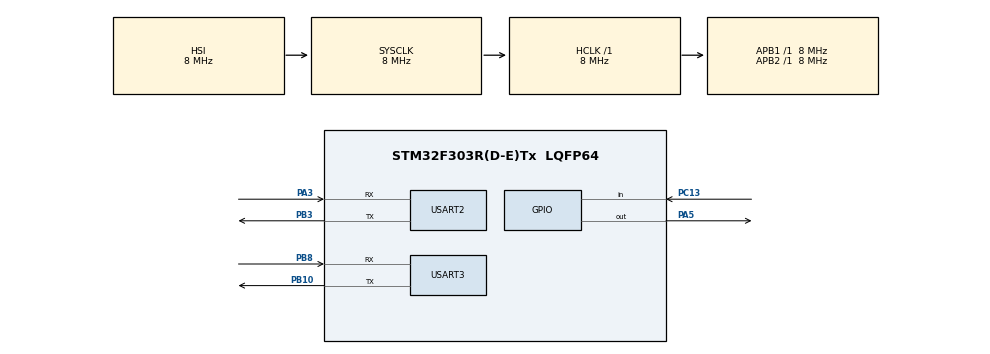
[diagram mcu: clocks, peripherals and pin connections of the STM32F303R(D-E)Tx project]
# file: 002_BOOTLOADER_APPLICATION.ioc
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Mcu.Family=STM32F3
Mcu.Name=STM32F303R(D-E)Tx
Mcu.Package=LQFP64
NVIC.PriorityGroup=NVIC_PRIORITYGROUP_4
PA3.Mode=Asynchronous
PA3.Signal=USART2_RX
PA5.Signal=GPIO_Output
PB10.Mode=Asynchronous
PB10.Signal=USART3_TX
PB3.Mode=Asynchronous
PB3.Signal=USART2_TX
PB8.Mode=Asynchronous
PB8.Signal=USART3_RX
PC13.Signal=GPIO_Input
ProjectManager.HeapSize=0x200
ProjectManager.StackSize=0x400
ProjectManager.TargetToolchain=STM32CubeIDE
RCC.AHBFreq_Value=8000000
RCC.APB1Freq_Value=8000000
RCC.APB2Freq_Value=8000000
RCC.CortexFreq_Value=8000000
RCC.HSE_VALUE=8000000
RCC.HSI_VALUE=8000000
RCC.LSE_VALUE=32768
RCC.SYSCLKFreq_VALUE=8000000
RCC.USBFreq_Value=16000000
USART2.VirtualMode-Asynchronous=VM_ASYNC
USART3.VirtualMode-Asynchronous=VM_ASYNC
VP_CRC_VS_CRC.Mode=CRC_Activate
board=custom

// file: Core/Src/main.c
/* USER CODE BEGIN Header */
/**
  ******************************************************************************
  * @file           : main.c
  * @brief          : Main program body
  ******************************************************************************
  * @attention
  *
  * Copyright (c) 2025 STMicroelectronics.
  * All rights reserved.
  *
  * This software is licensed under terms that can be found in the LICENSE file
  * in the root directory of this software component.
  * If no LICENSE file comes with this software, it is provided AS-IS.
  *
  ******************************************************************************
  */
/* USER CODE END Header */
#include "main.h"

/* USER CODE BEGIN Includes */

#include "stdarg.h"
#include "stdio.h"
#include "string.h"
#include "bootloader_command.h"
#include "bootloader_command_app.h"

/* USER CODE END Includes */

/* USER CODE BEGIN PD */

#define FLASH_SECTOR_2_BASE_ADDRESS 0x08008000
#define BL_RX_DATA_LENGTH			100

/* USER CODE END PD */

CRC_HandleTypeDef hcrc;

UART_HandleTypeDef huart2;
UART_HandleTypeDef huart3;

/* USER CODE BEGIN PV */

uint8_t bootloader_rx_data[BL_RX_DATA_LENGTH];

/* USER CODE END PV */

void SystemClock_Config(void);
static void MX_GPIO_Init(void);
static void MX_USART2_UART_Init(void);
static void MX_CRC_Init(void);
static void MX_USART3_UART_Init(void);

/* USER CODE BEGIN 0 */

void print_message(char* format, ...){

	char coming_message[100];

	va_list va_list;
	va_start(va_list, format);
	vsprintf(coming_message, format, va_list);
	HAL_UART_Transmit(&huart2, (uint8_t*)coming_message, strlen(coming_message), HAL_MAX_DELAY);
	va_end(va_list);
}

void bootloader_uart_read_data(void)
{
    // Fonksiyona girildiğinde mesaj gönder
    char* giris_mesaji = "BLi\r\n";
    HAL_UART_Transmit(&huart3, (uint8_t*)giris_mesaji, strlen(giris_mesaji), HAL_MAX_DELAY);

    uint8_t bl_rx_length = 0;

    while (1)
    {
        // 1. RX buffer'ı temizle
        memset(bootloader_rx_data, 0, BL_RX_DATA_LENGTH);

        // 2. İlk byte'ı al (veri uzunluğu)
        HAL_UART_Receive(&huart3, bootloader_rx_data, 1, HAL_MAX_DELAY);

        // 3. Alınan ilk byte'ı geri gönder (echo)
        //HAL_UART_Transmit(&huart3, bootloader_rx_data, 1, HAL_MAX_DELAY);

        // 4. İlk byte'ı uzunluk olarak kullan
        bl_rx_length = bootloader_rx_data[0];

        // 5. bl_rx_length kadar veri al
        HAL_UART_Receive(&huart3, &bootloader_rx_data[1], bl_rx_length, HAL_MAX_DELAY);

        switch (bootloader_rx_data[1])
        {
            case BL_GET_VER:
                for (int i = 0; i < bl_rx_length + 1; i++) {
                    //HAL_UART_Transmit(&huart3, &bootloader_rx_data[i], 1, HAL_MAX_DELAY);
                }

                bootloader_get_version_cmd(bootloader_rx_data);
                break;

            case BL_GET_HELP:
                bootloader_get_help_cmd(bootloader_rx_data);
                break;

            default:
            {
                char* unknown_cmd = "Bilinmeyen komut!\r\n";
                HAL_UART_Transmit(&huart3, (uint8_t*)unknown_cmd, strlen(unknown_cmd), HAL_MAX_DELAY);
                break;
            }
        }
    }
}

void bootloader_jump_to_user_application() {

	//1- reset handlerin adresini tutan bir metot işaretçisi
	void (*bootloader_application_reset_handler) (void);
	//2- kullanıcı uygulamasına atlandığını ilet
	print_message("BL DEBUG MSG: bootloader_jump_to_user_application called\n");
	//3- MSP'nin değerini tut
	uint32_t MSP_value = *(volatile uint32_t*) FLASH_SECTOR_2_BASE_ADDRESS;
	uint32_t reset_value = *(volatile uint32_t*) (FLASH_SECTOR_2_BASE_ADDRESS + 4);
	bootloader_application_reset_handler = (void *) reset_value;
	print_message("BL DEBUG MODE: MSP value: %#x\n", MSP_value);
	//setmsp den sonra bir metot vb olursa işlevini yerine getiremeyebilir
	__set_MSP(MSP_value);
	bootloader_application_reset_handler();

	/*void (*bootloader_application_reset_handler) (void);
	uint32_t reset_value = *(volatile uint32_t*) (FLASH_SECTOR_2_BASE_ADDRESS + 4);
	uint32_t MSP_value = *(volatile uint32_t*) FLASH_SECTOR_2_BASE_ADDRESS;
	bootloader_application_reset_handler = (void *) reset_value;
	print_message("BL DEBUG MODE: reset value: %#x\n", reset_value);
	bootloader_application_reset_handler();*/

}

/* USER CODE END 0 */

int main(void)
{

  /* MCU Configuration--------------------------------------------------------*/

  /* Reset of all peripherals, Initializes the Flash interface and the Systick. */
  HAL_Init();

  /* Configure the system clock */
  SystemClock_Config();

  /* Initialize all configured peripherals */
  MX_GPIO_Init();
  MX_USART2_UART_Init();
  MX_CRC_Init();
  MX_USART3_UART_Init();
  /* USER CODE BEGIN 2 */

  if(HAL_GPIO_ReadPin(GPIOC, GPIO_PIN_13) != GPIO_PIN_SET){

	  print_message("BL DEBUG MODE: Button is pressed go to BL mode\n");
	  HAL_GPIO_WritePin(GPIOA, GPIO_PIN_5, GPIO_PIN_SET);
	  bootloader_uart_read_data();

  }
  else {

	  print_message("BL DEBUG MODE: Button is not pressed executing user application\n");

	  bootloader_jump_to_user_application();

  }

  /* USER CODE END 2 */

  /* Infinite loop */
  /* USER CODE BEGIN WHILE */
  while (1)
  {
	  HAL_GPIO_TogglePin(GPIOA, GPIO_PIN_5);
	  HAL_Delay(100);
    /* USER CODE END WHILE */

  }
}

void SystemClock_Config(void)
{
  RCC_OscInitTypeDef RCC_OscInitStruct = {0};
  RCC_ClkInitTypeDef RCC_ClkInitStruct = {0};
  RCC_PeriphCLKInitTypeDef PeriphClkInit = {0};

  /** Initializes the RCC Oscillators according to the specified parameters
  * in the RCC_OscInitTypeDef structure.
  */
  RCC_OscInitStruct.OscillatorType = RCC_OSCILLATORTYPE_HSI;
  RCC_OscInitStruct.HSIState = RCC_HSI_ON;
  RCC_OscInitStruct.HSICalibrationValue = RCC_HSICALIBRATION_DEFAULT;
  RCC_OscInitStruct.PLL.PLLState = RCC_PLL_NONE;
  if (HAL_RCC_OscConfig(&RCC_OscInitStruct) != HAL_OK)
  {
    Error_Handler();
  }

  /** Initializes the CPU, AHB and APB buses clocks
  */
  RCC_ClkInitStruct.ClockType = RCC_CLOCKTYPE_HCLK|RCC_CLOCKTYPE_SYSCLK
                              |RCC_CLOCKTYPE_PCLK1|RCC_CLOCKTYPE_PCLK2;
  RCC_ClkInitStruct.SYSCLKSource = RCC_SYSCLKSOURCE_HSI;
  RCC_ClkInitStruct.AHBCLKDivider = RCC_SYSCLK_DIV1;
  RCC_ClkInitStruct.APB1CLKDivider = RCC_HCLK_DIV1;
  RCC_ClkInitStruct.APB2CLKDivider = RCC_HCLK_DIV1;

  if (HAL_RCC_ClockConfig(&RCC_ClkInitStruct, FLASH_LATENCY_0) != HAL_OK)
  {
    Error_Handler();
  }
  PeriphClkInit.PeriphClockSelection = RCC_PERIPHCLK_USART2|RCC_PERIPHCLK_USART3;
  PeriphClkInit.Usart2ClockSelection = RCC_USART2CLKSOURCE_PCLK1;
  PeriphClkInit.Usart3ClockSelection = RCC_USART3CLKSOURCE_PCLK1;
  if (HAL_RCCEx_PeriphCLKConfig(&PeriphClkInit) != HAL_OK)
  {
    Error_Handler();
  }
}

static void MX_CRC_Init(void)
{

  hcrc.Instance = CRC;
  hcrc.Init.DefaultPolynomialUse = DEFAULT_POLYNOMIAL_ENABLE;
  hcrc.Init.DefaultInitValueUse = DEFAULT_INIT_VALUE_ENABLE;
  hcrc.Init.InputDataInversionMode = CRC_INPUTDATA_INVERSION_NONE;
  hcrc.Init.OutputDataInversionMode = CRC_OUTPUTDATA_INVERSION_DISABLE;
  hcrc.InputDataFormat = CRC_INPUTDATA_FORMAT_BYTES;
  if (HAL_CRC_Init(&hcrc) != HAL_OK)
  {
    Error_Handler();
  }

}

static void MX_USART2_UART_Init(void)
{

  huart2.Instance = USART2;
  huart2.Init.BaudRate = 38400;
  huart2.Init.WordLength = UART_WORDLENGTH_8B;
  huart2.Init.StopBits = UART_STOPBITS_1;
  huart2.Init.Parity = UART_PARITY_NONE;
  huart2.Init.Mode = UART_MODE_TX_RX;
  huart2.Init.HwFlowCtl = UART_HWCONTROL_NONE;
  huart2.Init.OverSampling = UART_OVERSAMPLING_16;
  huart2.Init.OneBitSampling = UART_ONE_BIT_SAMPLE_DISABLE;
  huart2.AdvancedInit.AdvFeatureInit = UART_ADVFEATURE_NO_INIT;
  if (HAL_UART_Init(&huart2) != HAL_OK)
  {
    Error_Handler();
  }

}

static void MX_USART3_UART_Init(void)
{

  huart3.Instance = USART3;
  huart3.Init.BaudRate = 38400;
  huart3.Init.WordLength = UART_WORDLENGTH_8B;
  huart3.Init.StopBits = UART_STOPBITS_1;
  huart3.Init.Parity = UART_PARITY_NONE;
  huart3.Init.Mode = UART_MODE_TX_RX;
  huart3.Init.HwFlowCtl = UART_HWCONTROL_NONE;
  huart3.Init.OverSampling = UART_OVERSAMPLING_16;
  huart3.Init.OneBitSampling = UART_ONE_BIT_SAMPLE_DISABLE;
  huart3.AdvancedInit.AdvFeatureInit = UART_ADVFEATURE_NO_INIT;
  if (HAL_UART_Init(&huart3) != HAL_OK)
  {
    Error_Handler();
  }

}

static void MX_GPIO_Init(void)
{
  GPIO_InitTypeDef GPIO_InitStruct = {0};

  /* GPIO Ports Clock Enable */
  __HAL_RCC_GPIOC_CLK_ENABLE();
  __HAL_RCC_GPIOA_CLK_ENABLE();
  __HAL_RCC_GPIOB_CLK_ENABLE();

  /*Configure GPIO pin Output Level */
  HAL_GPIO_WritePin(GPIOA, GPIO_PIN_5, GPIO_PIN_RESET);

  /*Configure GPIO pin : PC13 */
  GPIO_InitStruct.Pin = GPIO_PIN_13;
  GPIO_InitStruct.Mode = GPIO_MODE_INPUT;
  GPIO_InitStruct.Pull = GPIO_NOPULL;
  HAL_GPIO_Init(GPIOC, &GPIO_InitStruct);

  /*Configure GPIO pin : PA5 */
  GPIO_InitStruct.Pin = GPIO_PIN_5;
  GPIO_InitStruct.Mode = GPIO_MODE_OUTPUT_PP;
  GPIO_InitStruct.Pull = GPIO_NOPULL;
  GPIO_InitStruct.Speed = GPIO_SPEED_FREQ_LOW;
  HAL_GPIO_Init(GPIOA, &GPIO_InitStruct);

}

void Error_Handler(void)
{
  __disable_irq();
  while (1)
  {
  }
}
